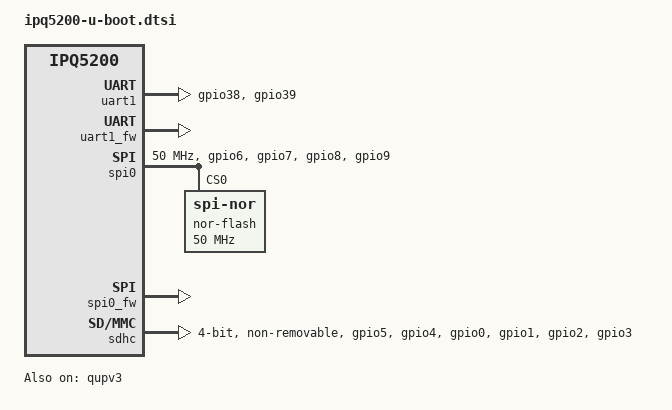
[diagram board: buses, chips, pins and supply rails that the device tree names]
// SPDX-License-Identifier: GPL-2.0+
/*
 * Copyright (c) Qualcomm Technologies, Inc. and/or its subsidiaries.
 */

#include <dt-bindings/interrupt-controller/arm-gic.h>
#include <asm/arch/dt-bindings/clock/qcom,ipq5200-gcc.h>
#include <asm/arch/dt-bindings/reset/qcom,ipq5200-gcc.h>
/ {
	#address-cells = <2>;
	#size-cells = <2>;

	chosen {
		stdout-path = "serial0:115200n8";
	};

	reserved-memory {
		#address-cells = <2>;
		#size-cells = <2>;
		ranges;

		/delete-node/ smem;
		smem_mem: smem_region@8a800000 {
			reg = <0x0 0x8a800000 0x0 0x32000>;
			no-map;
		};
	};

	smem {
		compatible = "qcom,smem";
		memory-region = <&smem_mem>;
	};

	psci {
		compatible = "arm,psci-1.0";
		method = "smc";
	};

	soc@0 {
		compatible = "simple-bus";
		#address-cells = <2>;
		#size-cells = <2>;
		ranges = <0 0 0 0 0x10 0>;

		tlmm: pinctrl@1000000 {
			compatible = "qcom,ipq5200-tlmm";
			reg = <0 0x01000000 0 0x300000>;
			gpio-controller;
			#gpio-cells = <2>;
			gpio-ranges = <&tlmm 0 0 53>;
			interrupt-controller;
			#interrupt-cells = <2>;

			uart1_pins: uart1-state {
				pins = "gpio38", "gpio39";
				function = "uart1";
				drive-strength = <8>;
				bias-pull-up;
			};
		};

		gcc: clock-controller@1800000 {
			compatible = "qcom,ipq5200-gcc";
			reg = <0 0x01800000 0 0x40000>;
			#clock-cells = <1>;
			#reset-cells = <1>;
			#power-domain-cells = <1>;
		};

		qupv3: geniqup@1ac0000 {
			compatible = "qcom,geni-se-qup";
			reg = <0 0x01ac0000 0 0x2000>;
			clocks = <&gcc GCC_QUPV3_AHB_MST_CLK>,
				 <&gcc GCC_QUPV3_AHB_SLV_CLK>;
			clock-names = "m-ahb", "s-ahb";
			ranges;
			#address-cells = <2>;
			#size-cells = <2>;

			status = "disabled";

			uart1: serial@1a84000 {
				compatible = "qcom,geni-debug-uart";
				reg = <0 0x1a84000 0 0x4000>;
				clocks = <&gcc GCC_QUPV3_UART1_CLK>;
				clock-names = "se";
				status = "disabled";
			};
		};

		sdhc: mmc@7804000 {
			compatible = "qcom,ipq5200-sdhci", "qcom,sdhci-msm-v5";
			reg = <0 0x07804000 0 0x1000>, <0 0x07805000 0 0x1000>;
			reg-names = "hc", "cqhci";

			clocks = <&gcc GCC_SDCC1_AHB_CLK>,
				 <&gcc GCC_SDCC1_APPS_CLK>;
			clock-names = "iface", "core";

			status = "disabled";
		};
	};
};

&tlmm {
	uart1_pins: uart1-state {
		bootph-all;
	};

	sdc_default_state: sdc-default-state {
		clk-pins {
			pins = "gpio5";
			function = "sdc_clk";
			drive-strength = <8>;
			bias-disable;
		};

		cmd-pins {
			pins = "gpio4";
			function = "sdc_cmd";
			drive-strength = <8>;
			bias-pull-up;
		};

		data-pins {
			pins = "gpio0", "gpio1", "gpio2", "gpio3";
			function = "sdc_data";
			drive-strength = <8>;
			bias-pull-up;
		};
	};

	spi0_pinmux: spi0 {
		spi0_sclk {
			pins = "gpio6";
			function = "spi0_clk";
			drive-strength = <8>;
			bias-pull-down;
		};

		spi0_cs0 {
			pins = "gpio7";
			function = "spi0_cs";
			drive-strength = <8>;
			bias-pull-up;
		};

		spi0_miso {
			pins = "gpio8";
			function = "spi0_miso";
			drive-strength = <8>;
			bias-pull-down;
		};

		spi0_mosi {
			pins = "gpio9";
			function = "spi0_mosi";
			drive-strength = <8>;
			bias-pull-down;
		};
	};
};

&sdhc {
	bus-width = <4>;
	max-frequency = <192000000>;
	mmc-ddr-1_8v;
	non-removable;
	pinctrl-0 = <&sdc_default_state>;
	pinctrl-names = "default";
	sdhci-caps-mask = <0x0 0x04000000>;
	sdhci-caps = <0x0 0x04000000>;
	resets = <&gcc GCC_SDCC_BCR>;
	reset-names = "bcr_rst";
	status = "okay";
};

&qupv3 {
	status = "okay";
	uart1: serial@1a84000 {
		pinctrl-0 = <&uart1_pins>;
		pinctrl-names = "default";
		qup-se-fw-load = <&uart1_fw>;
		status = "okay";
	};

	uart1_fw: uart_firmware@0 {
		compatible = "qcom-ipq5424-uart-geni-fw";
		reg = <0 0x01a84000 0 0x4000>;
		status = "okay";
	};

	spi0: spi@1a90000 {
		compatible = "qcom-ipq5200-geni-spi";
		reg = <0 0x1a90000 0 0x4000>;
		reg-names = "se_phys";
		clocks = <&gcc GCC_QUPV3_SPI0_CLK>;
		clock-names = "se-spi-clk";
		clock-frequency = <50000000>;
		nor-blk-enable;
		status = "okay";
		#address-cells = <1>;
		#size-cells = <0>;
		qup-se-fw-load = <&spi0_fw>;

		pinctrl-0 = <&spi0_pinmux>;
		pinctrl-names = "default";

		nor-flash@0 {
			compatible = "jedec,spi-nor";
			reg = <0 0 0 0>;
			spi-max-frequency = <50000000>;
		};
	};

	spi0_fw: spi_firmware@0 {
		compatible = "qcom-ipq5424-spi-geni-fw";
		reg = <0 0x1a90000 0 0x4000>;
		reg-names = "se_phys";
	};
};
